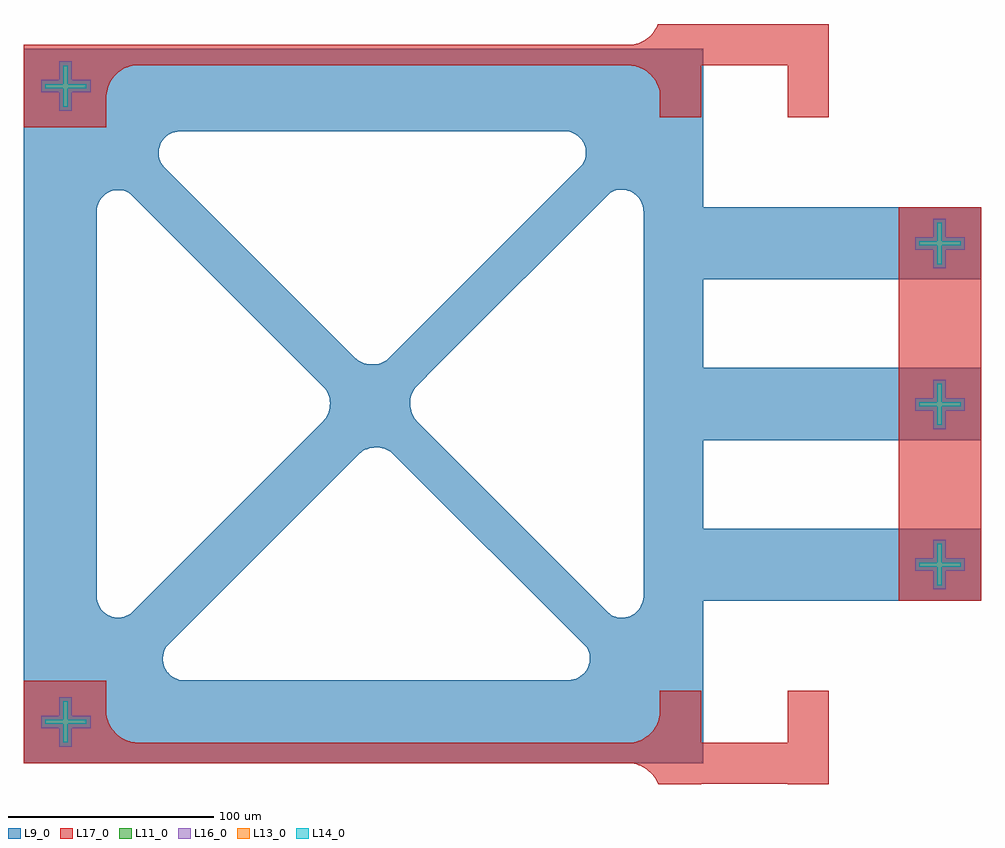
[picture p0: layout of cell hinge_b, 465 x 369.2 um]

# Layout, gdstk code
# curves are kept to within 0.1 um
import gdstk
lib = gdstk.Library(unit=1e-6, precision=1e-09)
def R(c, l, rs):  # rectangles x0, y0, x1, y1
    for r in rs: c.add(gdstk.rectangle(r[:2], r[2:], *l))
def A(c, l, x, y, w, h, nx, ny, dx, dy):  # array of equal rectangles
    R(c, l, [(x+i*dx, y+j*dy, x+i*dx+w, y+j*dy+h) for i in range(nx) for j in range(ny)])
def P(c, l, *ps):  # polygons
    for p in ps: c.add(gdstk.Polygon(p, *l))
L9_0 = (9, 0)
L11_0 = (11, 0)
L13_0 = (13, 0)
L14_0 = (14, 0)
L16_0 = (16, 0)
L17_0 = (17, 0)

contact_cross = lib.new_cell('contact_cross')
R(contact_cross, L9_0, [(0,0,30,30)])
R(contact_cross, L11_0, [(11.8,3,17.8,27), (3,12,27,18)])
R(contact_cross, L13_0, [(13.8,5,15.8,25), (5,14,25,16)])
R(contact_cross, L14_0, [(13.8,5,15.8,25), (5,14,25,16)])
R(contact_cross, L16_0, [(11.8,3,17.8,27), (3,12,27,18)])
R(contact_cross, L17_0, [(0,0,30,30)])

hinge_b = lib.new_cell('hinge_b')
A(hinge_b, L9_0, 161.1, -94.6, 135, 35, 1, 3, 0, 78)
P(hinge_b, L9_0, [(161.1,173.4),(104.147,173.4),(104.147,122.43),(103.756,120.077),(103.362,118.95),(102.203,116.866),(8.178,22.778),(6.782,21.824),(4.82,20.897),(2.728,20.316),(0.569,20.098),(-1.597,20.248),(-3.705,20.764),(-5.696,21.629),(-8.26,23.46),(-100.984,116.184),(-102.142,117.835),(-102.662,118.91),(-103.319,121.202),(-103.438,123.584),(-103.014,125.931),(-102.604,127.052),(-101.414,129.119),(-99.787,130.862),(-98.834,131.583),(-96.715,132.676),(-95.576,133.034),(-93.1,133.46),(-98.48,133.5),(93.8,133.5),(96.276,133.074),(98.506,132.23),(100.487,130.902),(101.35,130.077),(102.768,128.16),(103.304,127.092),(103.993,124.81),(104.147,122.43),(104.147,173.4),(-168.9,173.4),(-168.9,-0.1),(-133.6,-0.1),(-133.6,94.5),(-133.174,96.976),(-132.816,98.115),(-131.723,100.234),(-131.002,101.187),(-129.259,102.814),(-128.26,103.468),(-126.071,104.414),(-123.724,104.838),(-121.342,104.719),(-119.05,104.062),(-116.637,102.637),(-22.878,8.878),(-21.419,6.521),(-20.662,4.486),(-20.261,2.353),(-20.259,-0.1),(18.758,-0.1),(18.848,3.097),(19.364,5.205),(20.229,7.196),(21.461,9.061),(115.636,103.236),(117.51,104.262),(118.637,104.656),(120.99,105.047),(123.37,104.893),(125.652,104.204),(126.72,103.668),(128.637,102.25),(129.462,101.387),(130.79,99.406),(131.634,97.176),(132.06,94.7),(132.1,100.08),(132.1,-0.1),(161.1,-0.1)],
  [(161.1,-0.1),(132.1,-0.1),(132.1,-92.6),(131.674,-95.076),(131.316,-96.215),(130.223,-98.334),(129.502,-99.287),(127.759,-100.914),(125.692,-102.104),(124.571,-102.514),(122.224,-102.938),(119.842,-102.819),(118.677,-102.556),(116.475,-101.642),(115.84,-101.24),(114.53,-99.93),(114.53,-133.4),(-91.1,-133.4),(-93.576,-132.974),(-95.806,-132.13),(-97.787,-130.802),(-99.414,-129.059),(-100.604,-126.992),(-101.293,-124.71),(-101.447,-122.33),(-101.056,-119.977),(-100.142,-117.775),(-99.237,-116.437),(-6.084,-23.284),(-5.098,-22.51),(-3.221,-21.419),(-0.128,-20.416),(3.117,-20.227),(5.262,-20.561),(8.296,-21.729),(10.161,-22.961),(104.581,-117.381),(105.656,-119.837),(106.047,-122.19),(105.893,-124.57),(105.614,-125.731),(104.668,-127.92),(103.25,-129.837),(101.434,-131.383),(99.315,-132.476),(98.176,-132.834),(95.7,-133.26),(114.53,-133.4),(114.53,-99.93),(21.784,-7.184),(21.01,-6.198),(19.919,-4.321),(19.162,-2.286),(18.758,-0.1),(-20.259,-0.1),(-20.561,-1.962),(-21.254,-4.019),(-22.286,-5.929),(-23.56,-7.56),(-116.384,-100.384),(-118.035,-101.542),(-119.11,-102.062),(-121.402,-102.719),(-123.784,-102.838),(-126.131,-102.414),(-128.32,-101.468),(-129.319,-100.814),(-131.062,-99.187),(-131.783,-98.234),(-132.876,-96.115),(-133.6,-92.891),(-133.6,-0.1),(-168.9,-0.1),(-168.9,-173.6),(161.1,-173.6)])
R(hinge_b, L17_0, [(140.1,-183.7,160.1,-138.3), (202.1,-183.7,222.1,-138.5), (160.1,-183.6,202.1,-163.6), (-168.9,-173.6,-128.8,-133.5), (-128.8,-173.6,140.1,-163.6), (256.1,-94.6,296.1,96.4), (-168.9,135.3,-128.8,175.4), (140.1,140.1,160.1,185.5), (202.1,140.3,222.1,185.5), (-128.8,165.4,140.1,175.4), (160.1,165.4,202.1,185.4)])
P(hinge_b, L17_0, [(140.101,185.5),(139.117,185.5),(138.255,183.582),(137.019,181.634),(135.512,179.888),(133.766,178.381),(131.818,177.145),(129.71,176.207),(126.35,175.4),(140.101,175.4)],
  [(126.35,-163.599),(129.71,-162.793),(131.818,-161.855),(133.766,-160.619),(135.512,-159.112),(137.673,-156.414),(138.762,-154.381),(139.543,-152.211),(140.101,-148.8),(140.101,-163.6)],
  [(140.1,-173.599),(125.3,-173.599),(127.589,-173.888),(129.81,-174.507),(131.918,-175.445),(133.866,-176.681),(135.612,-178.188),(137.119,-179.934),(138.355,-181.882),(139.176,-183.7),(140.1,-183.7)],
  [(140.099,151.65),(139.293,155.01),(138.355,157.118),(137.119,159.066),(135.612,160.812),(132.914,162.973),(130.881,164.062),(128.711,164.843),(125.3,165.401),(140.1,165.401)],
  [(-128.799,-149.85),(-127.993,-153.21),(-127.055,-155.318),(-125.819,-157.266),(-124.312,-159.012),(-121.614,-161.173),(-119.581,-162.262),(-117.411,-163.043),(-114,-163.601),(-128.8,-163.601)],
  [(-115.05,165.399),(-118.41,164.593),(-120.518,163.655),(-122.466,162.419),(-124.212,160.912),(-126.373,158.214),(-127.462,156.181),(-128.243,154.011),(-128.801,150.6),(-128.801,165.4)])
hinge_b.add(gdstk.Reference(contact_cross, (261.1,63.9)))
hinge_b.add(gdstk.Reference(contact_cross, (261.1,-14.3)))
hinge_b.add(gdstk.Reference(contact_cross, (261.1,-92.1)))
hinge_b.add(gdstk.Reference(contact_cross, (-163.5,140.3)))
hinge_b.add(gdstk.Reference(contact_cross, (-163.5,-138.5), x_reflection=True))

lib.write_gds('hinge_b.gds')
